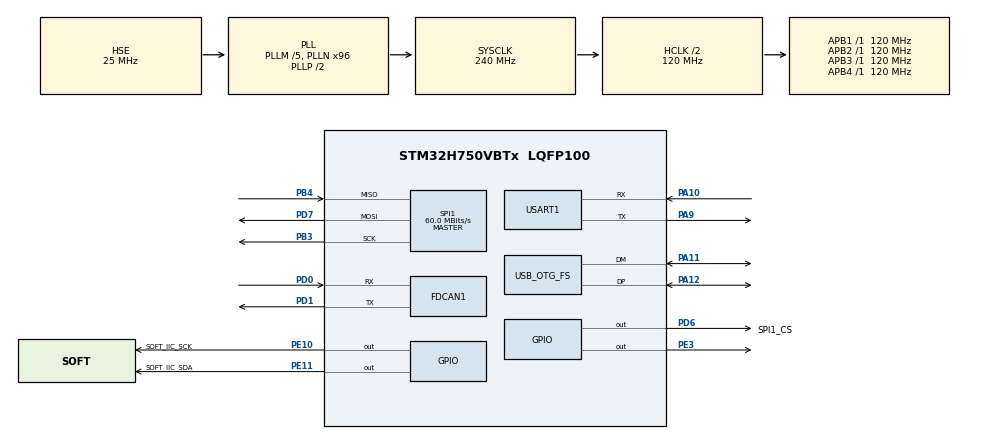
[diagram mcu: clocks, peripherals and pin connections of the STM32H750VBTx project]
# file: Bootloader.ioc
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CORTEX_M7.CPU_ICache=Enabled
CORTEX_M7.MPU_Control=__NULL
Dma.Request0=USART1_RX
Dma.USART1_RX.0.Direction=DMA_PERIPH_TO_MEMORY
Dma.USART1_RX.0.EventEnable=DISABLE
Dma.USART1_RX.0.FIFOMode=DMA_FIFOMODE_DISABLE
Dma.USART1_RX.0.Instance=DMA1_Stream0
Dma.USART1_RX.0.MemDataAlignment=DMA_MDATAALIGN_BYTE
Dma.USART1_RX.0.MemInc=DMA_MINC_ENABLE
Dma.USART1_RX.0.Mode=DMA_NORMAL
Dma.USART1_RX.0.PeriphDataAlignment=DMA_PDATAALIGN_BYTE
Dma.USART1_RX.0.PeriphInc=DMA_PINC_DISABLE
Dma.USART1_RX.0.Polarity=HAL_DMAMUX_REQ_GEN_RISING
Dma.USART1_RX.0.Priority=DMA_PRIORITY_LOW
Dma.USART1_RX.0.RequestNumber=1
Dma.USART1_RX.0.SignalID=NONE
Dma.USART1_RX.0.SyncEnable=DISABLE
Dma.USART1_RX.0.SyncPolarity=HAL_DMAMUX_SYNC_NO_EVENT
Dma.USART1_RX.0.SyncRequestNumber=1
Dma.USART1_RX.0.SyncSignalID=NONE
FDCAN1.CalculateBaudRateNominal=1000000
FDCAN1.CalculateTimeBitNominal=1000
FDCAN1.CalculateTimeQuantumNominal=62.5
FDCAN1.DataPrescaler=3
FDCAN1.DataTimeSeg1=10
FDCAN1.DataTimeSeg2=5
FDCAN1.NominalPrescaler=3
FDCAN1.NominalTimeSeg1=10
FDCAN1.NominalTimeSeg2=5
FDCAN1.RxFifo0ElmtsNbr=32
FDCAN1.TxFifoQueueElmtsNbr=16
FREERTOS.Tasks01=defaultTask,24,128,StartDefaultTask,Default,NULL,Dynamic,NULL,NULL
Mcu.Family=STM32H7
Mcu.Name=STM32H750VBTx
Mcu.Package=LQFP100
NVIC.DMA1_Stream0_IRQn=true\:5\:0\:false\:false\:true\:true\:false\:true\:true
NVIC.FDCAN1_IT0_IRQn=true\:5\:0\:false\:false\:true\:true\:true\:true\:true
NVIC.FDCAN1_IT1_IRQn=true\:5\:0\:false\:false\:true\:true\:true\:true\:true
NVIC.OTG_FS_IRQn=true\:5\:0\:false\:false\:true\:true\:false\:true\:true
NVIC.PriorityGroup=NVIC_PRIORITYGROUP_4
NVIC.TIM2_IRQn=true\:15\:0\:false\:false\:true\:false\:false\:true\:true
NVIC.TimeBase=TIM2_IRQn
NVIC.TimeBaseIP=TIM2
NVIC.USART1_IRQn=true\:5\:0\:false\:false\:true\:true\:true\:true\:true
PA10.Mode=Asynchronous
PA10.Signal=USART1_RX
PA11.Mode=Device_Only
PA11.Signal=USB_OTG_FS_DM
PA12.Mode=Device_Only
PA12.Signal=USB_OTG_FS_DP
PA13\ (JTMS/SWDIO).Mode=Serial_Wire
PA13\ (JTMS/SWDIO).Signal=DEBUG_JTMS-SWDIO
PA14\ (JTCK/SWCLK).Mode=Serial_Wire
PA14\ (JTCK/SWCLK).Signal=DEBUG_JTCK-SWCLK
PA9.Mode=Asynchronous
PA9.Signal=USART1_TX
PB3\ (JTDO/TRACESWO).GPIO_Speed=GPIO_SPEED_FREQ_HIGH
PB3\ (JTDO/TRACESWO).Mode=Full_Duplex_Master
PB3\ (JTDO/TRACESWO).Signal=SPI1_SCK
PB4\ (NJTRST).GPIO_Speed=GPIO_SPEED_FREQ_HIGH
PB4\ (NJTRST).Mode=Full_Duplex_Master
PB4\ (NJTRST).Signal=SPI1_MISO
PD0.GPIO_Speed=GPIO_SPEED_FREQ_VERY_HIGH
PD0.Mode=FDCAN_Activate
PD0.Signal=FDCAN1_RX
PD1.GPIO_Speed=GPIO_SPEED_FREQ_VERY_HIGH
PD1.Mode=FDCAN_Activate
PD1.Signal=FDCAN1_TX
PD6.GPIO_Label=SPI1_CS
PD6.GPIO_PuPd=GPIO_PULLUP
PD6.GPIO_Speed=GPIO_SPEED_FREQ_HIGH
PD6.PinState=GPIO_PIN_SET
PD6.Signal=GPIO_Output
PD7.GPIO_Speed=GPIO_SPEED_FREQ_HIGH
PD7.Mode=Full_Duplex_Master
PD7.Signal=SPI1_MOSI
PE10.GPIO_Label=SOFT_IIC_SCK
PE10.GPIO_PuPd=GPIO_PULLUP
PE10.GPIO_Speed=GPIO_SPEED_FREQ_VERY_HIGH
PE10.PinState=GPIO_PIN_SET
PE10.Signal=GPIO_Output
PE11.GPIO_Label=SOFT_IIC_SDA
PE11.GPIO_PuPd=GPIO_PULLUP
PE11.GPIO_Speed=GPIO_SPEED_FREQ_VERY_HIGH
PE11.PinState=GPIO_PIN_SET
PE11.Signal=GPIO_Output
PE3.GPIO_PuPd=GPIO_PULLDOWN
PE3.Signal=GPIO_Output
PH0-OSC_IN\ (PH0).Mode=HSE-External-Oscillator
PH0-OSC_IN\ (PH0).Signal=RCC_OSC_IN
PH1-OSC_OUT\ (PH1).Mode=HSE-External-Oscillator
PH1-OSC_OUT\ (PH1).Signal=RCC_OSC_OUT
ProjectManager.HeapSize=0x200
ProjectManager.StackSize=0x400
ProjectManager.TargetToolchain=MDK-ARM V5.32
RCC.ADCFreq_Value=120000000
RCC.APB1Freq_Value=120000000
RCC.APB2Freq_Value=120000000
RCC.APB3Freq_Value=120000000
RCC.APB4Freq_Value=120000000
RCC.CortexFreq_Value=240000000
RCC.DIVM1=5
RCC.DIVM2=20
RCC.DIVM3=10
RCC.DIVN1=96
RCC.DIVN2=192
RCC.DIVN3=96
RCC.DIVP3=5
RCC.DIVQ1=4
RCC.DIVQ2=5
RCC.DIVQ3=5
RCC.FDCANCLockSelection=RCC_FDCANCLKSOURCE_PLL2
RCC.HCLKFreq_Value=120000000
RCC.HPRE=RCC_HCLK_DIV2
RCC.PLLSourceVirtual=RCC_PLLSOURCE_HSE
RCC.SYSCLKFreq_VALUE=240000000
RCC.SYSCLKSource=RCC_SYSCLKSOURCE_PLLCLK
RCC.USART16CLockSelection=RCC_USART16CLKSOURCE_PLL3
RCC.USBCLockSelection=RCC_USBCLKSOURCE_PLL3
RCC.USBFreq_Value=48000000
SPI1.BaudRatePrescaler=SPI_BAUDRATEPRESCALER_2
SPI1.CalculateBaudRate=60.0 MBits/s
SPI1.DataSize=SPI_DATASIZE_8BIT
SPI1.Direction=SPI_DIRECTION_2LINES
SPI1.Mode=SPI_MODE_MASTER
SPI1.VirtualType=VM_MASTER
USART1.VirtualMode-Asynchronous=VM_ASYNC
USB_DEVICE.CLASS_NAME_FS=CDC
USB_DEVICE.VirtualMode-CDC_FS=Cdc
USB_DEVICE.VirtualModeFS=Cdc_FS
USB_OTG_FS.VirtualMode=Device_Only
VP_FATFS_VS_Generic.Mode=User_defined
VP_FREERTOS_VS_CMSIS_V2.Mode=CMSIS_V2
VP_SYS_VS_tim2.Mode=TIM2
VP_USB_DEVICE_VS_USB_DEVICE_CDC_FS.Mode=CDC_FS
board=custom

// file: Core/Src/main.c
/* USER CODE BEGIN Header */
/**
  ******************************************************************************
  * @file           : main.c
  * @brief          : Main program body
  ******************************************************************************
  * @attention
  *
  * Copyright (c) 2023 STMicroelectronics.
  * All rights reserved.
  *
  * This software is licensed under terms that can be found in the LICENSE file
  * in the root directory of this software component.
  * If no LICENSE file comes with this software, it is provided AS-IS.
  *
  ******************************************************************************
  */
/* USER CODE END Header */
#include "main.h"
#include "cmsis_os.h"
#include "dma.h"
#include "fatfs.h"
#include "fdcan.h"
#include "spi.h"
#include "usart.h"
#include "usb_device.h"
#include "gpio.h"

/* USER CODE BEGIN Includes */
#include "bsp_fdcan.h"
/* USER CODE END Includes */

void SystemClock_Config(void);
void PeriphCommonClock_Config(void);
void MX_FREERTOS_Init(void);
/* USER CODE BEGIN PFP */
//int fputc(int ch, FILE* f)
//{
//
//	return ch;
//}
/* USER CODE END PFP */

/* USER CODE BEGIN 0 */
void SCL_Set_Pin(uint8_t pinset)
{
	if (pinset) {
		HAL_GPIO_WritePin(SOFT_IIC_SCK_GPIO_Port, SOFT_IIC_SCK_Pin, GPIO_PIN_SET);
	} else {
		HAL_GPIO_WritePin(SOFT_IIC_SCK_GPIO_Port, SOFT_IIC_SCK_Pin, GPIO_PIN_RESET);
	}
}

void SDA_Set_Pin(uint8_t pinset)
{
	if (pinset) {
		HAL_GPIO_WritePin(SOFT_IIC_SDA_GPIO_Port, SOFT_IIC_SDA_Pin, GPIO_PIN_SET);
	} else {
		HAL_GPIO_WritePin(SOFT_IIC_SDA_GPIO_Port, SOFT_IIC_SDA_Pin, GPIO_PIN_RESET);
	}
}

void SDA_OUT()
{
	__HAL_RCC_GPIOE_CLK_ENABLE();
	GPIO_InitTypeDef GPIO_InitStruct = {0};
	GPIO_InitStruct.Pin = SOFT_IIC_SDA_Pin;
	GPIO_InitStruct.Mode = GPIO_MODE_OUTPUT_OD;
	GPIO_InitStruct.Pull = GPIO_PULLUP;
	GPIO_InitStruct.Speed = GPIO_SPEED_FREQ_HIGH;
	HAL_GPIO_Init(GPIOE, &GPIO_InitStruct);
}

void SCL_OUT()
{
	__HAL_RCC_GPIOE_CLK_ENABLE();
	GPIO_InitTypeDef GPIO_InitStruct = {0};
	GPIO_InitStruct.Pin = SOFT_IIC_SCK_Pin;
	GPIO_InitStruct.Mode = GPIO_MODE_OUTPUT_OD;
	GPIO_InitStruct.Pull = GPIO_PULLUP;
	GPIO_InitStruct.Speed = GPIO_SPEED_FREQ_HIGH;
	HAL_GPIO_Init(GPIOE, &GPIO_InitStruct);
}

uint8_t IIC_SDA_Read_Pin(void)
{
	return HAL_GPIO_ReadPin(SOFT_IIC_SDA_GPIO_Port, SOFT_IIC_SDA_Pin);
}

uint32_t get_cpu_frq(void)
{
	RCC_ClkInitTypeDef clkConfig;
	HAL_RCC_GetClockConfig(&clkConfig, FLASH_LATENCY_0);
	return HAL_RCC_GetSysClockFreq();
}

/* USER CODE END 0 */

int main(void)
{

  /* Enable I-Cache---------------------------------------------------------*/
  SCB_EnableICache();

  /* MCU Configuration--------------------------------------------------------*/

  /* Reset of all peripherals, Initializes the Flash interface and the Systick. */
  HAL_Init();

  /* Configure the system clock */
  SystemClock_Config();

/* Configure the peripherals common clocks */
  PeriphCommonClock_Config();

  /* Initialize all configured peripherals */
  MX_GPIO_Init();
  MX_DMA_Init();
  MX_USART1_UART_Init();
  MX_FATFS_Init();
  MX_SPI1_Init();
  MX_FDCAN1_Init();
  /* USER CODE BEGIN 2 */
	FDCAN_Filter_Init();
  /* USER CODE END 2 */

  /* Init scheduler */
  osKernelInitialize();  /* Call init function for freertos objects (in freertos.c) */
  MX_FREERTOS_Init();

  /* Start scheduler */
  osKernelStart();

  /* We should never get here as control is now taken by the scheduler */
  /* Infinite loop */
  while (1)
  {

  }
}

void SystemClock_Config(void)
{
  RCC_OscInitTypeDef RCC_OscInitStruct = {0};
  RCC_ClkInitTypeDef RCC_ClkInitStruct = {0};

  /** Supply configuration update enable
  */
  HAL_PWREx_ConfigSupply(PWR_LDO_SUPPLY);

  /** Configure the main internal regulator output voltage
  */
  __HAL_PWR_VOLTAGESCALING_CONFIG(PWR_REGULATOR_VOLTAGE_SCALE2);

  while(!__HAL_PWR_GET_FLAG(PWR_FLAG_VOSRDY)) {}

  /** Initializes the RCC Oscillators according to the specified parameters
  * in the RCC_OscInitTypeDef structure.
  */
  RCC_OscInitStruct.OscillatorType = RCC_OSCILLATORTYPE_HSE;
  RCC_OscInitStruct.HSEState = RCC_HSE_ON;
  RCC_OscInitStruct.PLL.PLLState = RCC_PLL_ON;
  RCC_OscInitStruct.PLL.PLLSource = RCC_PLLSOURCE_HSE;
  RCC_OscInitStruct.PLL.PLLM = 5;
  RCC_OscInitStruct.PLL.PLLN = 96;
  RCC_OscInitStruct.PLL.PLLP = 2;
  RCC_OscInitStruct.PLL.PLLQ = 4;
  RCC_OscInitStruct.PLL.PLLR = 2;
  RCC_OscInitStruct.PLL.PLLRGE = RCC_PLL1VCIRANGE_2;
  RCC_OscInitStruct.PLL.PLLVCOSEL = RCC_PLL1VCOWIDE;
  RCC_OscInitStruct.PLL.PLLFRACN = 0;
  if (HAL_RCC_OscConfig(&RCC_OscInitStruct) != HAL_OK)
  {
    Error_Handler();
  }

  /** Initializes the CPU, AHB and APB buses clocks
  */
  RCC_ClkInitStruct.ClockType = RCC_CLOCKTYPE_HCLK|RCC_CLOCKTYPE_SYSCLK
                              |RCC_CLOCKTYPE_PCLK1|RCC_CLOCKTYPE_PCLK2
                              |RCC_CLOCKTYPE_D3PCLK1|RCC_CLOCKTYPE_D1PCLK1;
  RCC_ClkInitStruct.SYSCLKSource = RCC_SYSCLKSOURCE_PLLCLK;
  RCC_ClkInitStruct.SYSCLKDivider = RCC_SYSCLK_DIV1;
  RCC_ClkInitStruct.AHBCLKDivider = RCC_HCLK_DIV2;
  RCC_ClkInitStruct.APB3CLKDivider = RCC_APB3_DIV1;
  RCC_ClkInitStruct.APB1CLKDivider = RCC_APB1_DIV1;
  RCC_ClkInitStruct.APB2CLKDivider = RCC_APB2_DIV1;
  RCC_ClkInitStruct.APB4CLKDivider = RCC_APB4_DIV1;

  if (HAL_RCC_ClockConfig(&RCC_ClkInitStruct, FLASH_LATENCY_2) != HAL_OK)
  {
    Error_Handler();
  }
}

void PeriphCommonClock_Config(void)
{
  RCC_PeriphCLKInitTypeDef PeriphClkInitStruct = {0};

  /** Initializes the peripherals clock
  */
  PeriphClkInitStruct.PeriphClockSelection = RCC_PERIPHCLK_USB|RCC_PERIPHCLK_USART1;
  PeriphClkInitStruct.PLL3.PLL3M = 10;
  PeriphClkInitStruct.PLL3.PLL3N = 96;
  PeriphClkInitStruct.PLL3.PLL3P = 5;
  PeriphClkInitStruct.PLL3.PLL3Q = 5;
  PeriphClkInitStruct.PLL3.PLL3R = 2;
  PeriphClkInitStruct.PLL3.PLL3RGE = RCC_PLL3VCIRANGE_1;
  PeriphClkInitStruct.PLL3.PLL3VCOSEL = RCC_PLL3VCOWIDE;
  PeriphClkInitStruct.PLL3.PLL3FRACN = 0;
  PeriphClkInitStruct.Usart16ClockSelection = RCC_USART16CLKSOURCE_PLL3;
  PeriphClkInitStruct.UsbClockSelection = RCC_USBCLKSOURCE_PLL3;
  if (HAL_RCCEx_PeriphCLKConfig(&PeriphClkInitStruct) != HAL_OK)
  {
    Error_Handler();
  }
}

void HAL_TIM_PeriodElapsedCallback(TIM_HandleTypeDef *htim)
{
  if (htim->Instance == TIM2) {
    HAL_IncTick();
  }
}

void Error_Handler(void)
{
  __disable_irq();
  while (1)
  {
  }
}

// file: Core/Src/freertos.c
/* USER CODE BEGIN Header */
/**
  ******************************************************************************
  * File Name          : freertos.c
  * Description        : Code for freertos applications
  ******************************************************************************
  * @attention
  *
  * Copyright (c) 2023 STMicroelectronics.
  * All rights reserved.
  *
  * This software is licensed under terms that can be found in the LICENSE file
  * in the root directory of this software component.
  * If no LICENSE file comes with this software, it is provided AS-IS.
  *
  ******************************************************************************
  */
/* USER CODE END Header */

#include "FreeRTOS.h"
#include "task.h"
#include "main.h"
#include "cmsis_os.h"

/* USER CODE BEGIN Includes */
#include "shellTask.h"
#include "uni_shell.h"
#include "otaTask.h"
#include "comTask.h"
#include "queue.h"
/* USER CODE END Includes */

/* USER CODE BEGIN Variables */
osThreadId_t shellTaskHandle;
osThreadId_t otaTaskHandle;
osThreadId_t comTaskHandle;
const osThreadAttr_t shellTask_attributes = {
  .name = "shellTask",
  .stack_size = 128 * 16,
  .priority = (osPriority_t) osPriorityNormal,
};

const osThreadAttr_t otaTask_attr = {
	.name = "otaTask",
	.stack_size = 128 * 8,
	.priority = (osPriority_t) osPriorityNormal,
};

const osThreadAttr_t comTask_attr = {
	.name = "commTask",
	.stack_size = 128 * 8,
	.priority = (osPriority_t) osPriorityHigh,
};

extern QueueHandle_t log_mutex;
QueueHandle_t ota_cmd_queue;

/* USER CODE END Variables */
/* Definitions for defaultTask */
osThreadId_t defaultTaskHandle;
const osThreadAttr_t defaultTask_attributes = {
  .name = "defaultTask",
  .stack_size = 128 * 4,
  .priority = (osPriority_t) osPriorityNormal,
};

void StartDefaultTask(void *argument);

extern void MX_USB_DEVICE_Init(void);
void MX_FREERTOS_Init(void); /* (MISRA C 2004 rule 8.1) */

void MX_FREERTOS_Init(void) {

  /* USER CODE BEGIN RTOS_MUTEX */
  /* add mutexes, ... */
  log_mutex = xQueueCreateMutex(queueQUEUE_TYPE_MUTEX);
  /* USER CODE END RTOS_MUTEX */

  /* USER CODE BEGIN RTOS_QUEUES */
  /* add queues, ... */
  // osMessageQueueNew(10, 2, )
  ota_cmd_queue = xQueueCreate(10, 2);
  /* USER CODE END RTOS_QUEUES */

  /* Create the thread(s) */
  /* creation of defaultTask */
  defaultTaskHandle = osThreadNew(StartDefaultTask, NULL, &defaultTask_attributes);

  /* USER CODE BEGIN RTOS_THREADS */
  /* add threads, ... */
	shellTaskHandle = osThreadNew(shell_task, NULL, &shellTask_attributes);
	otaTaskHandle = osThreadNew(ota_task, NULL, &otaTask_attr);
	comTaskHandle = osThreadNew(comTask, NULL, &comTask_attr);
  /* USER CODE END RTOS_THREADS */

}

void StartDefaultTask(void *argument)
{
  /* init code for USB_DEVICE */
  MX_USB_DEVICE_Init();
  /* USER CODE BEGIN StartDefaultTask */
  /* Infinite loop */
  for(;;)
  {
		uint64_t stack_use = uxTaskGetStackHighWaterMark(shellTaskHandle);
		//SHELL_DEBUG("Stack Usage: %lu Byte", stack_use * 4);
	HAL_GPIO_TogglePin(GPIOE, GPIO_PIN_3);
    osDelay(1000);
  }
  /* USER CODE END StartDefaultTask */
}
